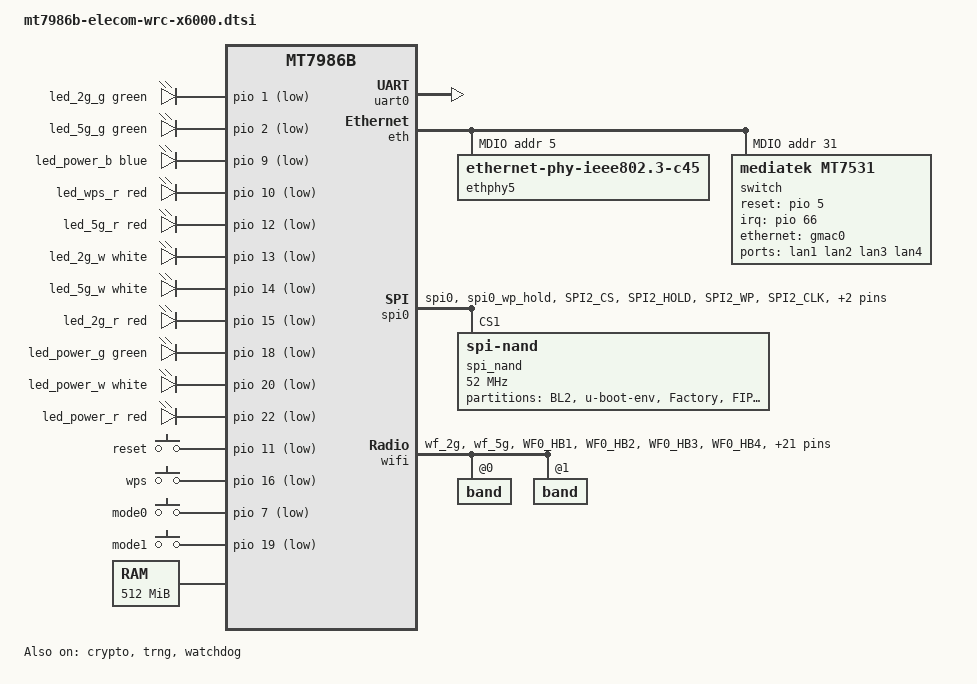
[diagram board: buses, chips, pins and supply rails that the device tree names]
// SPDX-License-Identifier: GPL-2.0-or-later OR MIT

/dts-v1/;

#include <dt-bindings/input/input.h>
#include <dt-bindings/gpio/gpio.h>
#include <dt-bindings/leds/common.h>
#include <dt-bindings/pinctrl/mt65xx.h>

#include "mt7986b.dtsi"

/ {
	aliases {
		serial0 = &uart0;

		label-mac-device = &gmac0;
		led-boot = &led_power_g;
		led-failsafe = &led_power_r;
		led-running = &led_power_g;
		led-upgrade = &led_power_w;
	};

	chosen: chosen {
		stdout-path = "serial0:115200n8";
	};

	leds {
		compatible = "gpio-leds";

		// 2GHz green
		led_2g_g: led-0 {
			function = LED_FUNCTION_WLAN_2GHZ;
			color = <LED_COLOR_ID_GREEN>;
			gpios = <&pio 1 GPIO_ACTIVE_LOW>;
		};

		// 5GHz green
		led_5g_g: led-1 {
			function = LED_FUNCTION_WLAN_5GHZ;
			color = <LED_COLOR_ID_GREEN>;
			gpios = <&pio 2 GPIO_ACTIVE_LOW>;
		};

		// power blue
		led_power_b: led-2 {
			function = LED_FUNCTION_POWER;
			color = <LED_COLOR_ID_BLUE>;
			gpios = <&pio 9 GPIO_ACTIVE_LOW>;
		};

		// wps red
		led_wps_r: led-3 {
			function = LED_FUNCTION_WPS;
			color = <LED_COLOR_ID_RED>;
			gpios = <&pio 10 GPIO_ACTIVE_LOW>;
			default-state = "off";
		};

		// 5GHz red
		led_5g_r: led-4 {
			function = LED_FUNCTION_WLAN_5GHZ;
			color = <LED_COLOR_ID_RED>;
			gpios = <&pio 12 GPIO_ACTIVE_LOW>;
		};

		// 2GHz white
		led_2g_w: led-5 {
			function = LED_FUNCTION_WLAN_2GHZ;
			color = <LED_COLOR_ID_WHITE>;
			gpios = <&pio 13 GPIO_ACTIVE_LOW>;
			linux,default-trigger = "phy0tpt";
		};

		// 5GHz white
		led_5g_w: led-6 {
			function = LED_FUNCTION_WLAN_5GHZ;
			color = <LED_COLOR_ID_WHITE>;
			gpios = <&pio 14 GPIO_ACTIVE_LOW>;
			linux,default-trigger = "phy1tpt";
		};

		// 2GHz red
		led_2g_r: led-7 {
			function = LED_FUNCTION_WLAN_2GHZ;
			color = <LED_COLOR_ID_RED>;
			gpios = <&pio 15 GPIO_ACTIVE_LOW>;
		};

		// power green
		led_power_g: led-8 {
			function = LED_FUNCTION_POWER;
			color = <LED_COLOR_ID_GREEN>;
			gpios = <&pio 18 GPIO_ACTIVE_LOW>;
		};

		// power white
		led_power_w: led-9 {
			function = LED_FUNCTION_POWER;
			color = <LED_COLOR_ID_WHITE>;
			gpios = <&pio 20 GPIO_ACTIVE_LOW>;
		};

		// power red
		led_power_r: led-10 {
			function = LED_FUNCTION_POWER;
			color = <LED_COLOR_ID_RED>;
			gpios = <&pio 22 GPIO_ACTIVE_LOW>;
		};
	};

	keys {
		compatible = "gpio-keys";

		button-reset {
			label = "reset";
			gpios = <&pio 11 GPIO_ACTIVE_LOW>;
			linux,code = <KEY_RESTART>;
		};

		button-wps {
			label = "wps";
			gpios = <&pio 16 GPIO_ACTIVE_LOW>;
			linux,code = <KEY_WPS_BUTTON>;
		};

		/*
		 * mode0 mode1: (Switch Position)
		 *   1     0  : Router
		 *   1     1  : AP
		 *   0     0  : Repeater (Normal)
		 *   0     1  : Repeater (Hanareya (en: Outbuilding))
		 */
		switch-mode0 {
			label = "mode0";
			gpios = <&pio 7 GPIO_ACTIVE_LOW>;
			linux,code = <BTN_0>;
			linux,input-type = <EV_SW>;
		};

		switch-mode1 {
			label = "mode1";
			gpios = <&pio 19 GPIO_ACTIVE_LOW>;
			linux,code = <BTN_1>;
			linux,input-type = <EV_SW>;
		};
	};

	memory@40000000 {
		device_type = "memory";
		reg = <0 0x40000000 0 0x20000000>;
	};
};

&crypto {
	status = "okay";
};

&trng {
	status = "okay";
};

&uart0 {
	status = "okay";
};

&watchdog {
	status = "okay";
};

&pio {
	spi_flash_pins: spi-flash-pins-33-to-38 {
		mux {
			function = "spi";
			groups = "spi0", "spi0_wp_hold";
		};

		conf-pu {
			pins = "SPI2_CS", "SPI2_HOLD", "SPI2_WP";
			drive-strength = <MTK_DRIVE_8mA>;
			bias-disable;
		};

		conf-pd {
			pins = "SPI2_CLK", "SPI2_MOSI", "SPI2_MISO";
			drive-strength = <MTK_DRIVE_8mA>;
			bias-disable;
		};
	};

	wf_2g_5g_pins: wf-2g-5g-pins {
		mux {
			function = "wifi";
			groups = "wf_2g", "wf_5g";
		};

		conf {
			pins = "WF0_HB1", "WF0_HB2", "WF0_HB3", "WF0_HB4",
				"WF0_HB0", "WF0_HB0_B", "WF0_HB5", "WF0_HB6",
				"WF0_HB7", "WF0_HB8", "WF0_HB9", "WF0_HB10",
				"WF0_TOP_CLK", "WF0_TOP_DATA", "WF1_HB1",
				"WF1_HB2", "WF1_HB3", "WF1_HB4", "WF1_HB0",
				"WF1_HB5", "WF1_HB6", "WF1_HB7", "WF1_HB8",
				"WF1_TOP_CLK", "WF1_TOP_DATA";
			drive-strength = <MTK_DRIVE_4mA>;
		};
	};
};

&eth {
	status = "okay";

	gmac0: mac@0 {
		/* towards internal switch port */
		compatible = "mediatek,eth-mac";
		reg = <0>;
		phy-mode = "2500base-x";

		nvmem-cells = <&macaddr_factory_2a 0>;
		nvmem-cell-names = "mac-address";

		fixed-link {
			speed = <2500>;
			full-duplex;
			pause;
		};
	};

	gmac1: mac@1 {
		/* toward wan port */
		status = "okay";
		compatible = "mediatek,eth-mac";
		reg = <1>;
		phy-mode = "2500base-x";
		phy-handle = <&ethphy5>;
		openwrt,netdev-name = "wan";

		nvmem-cells = <&macaddr_factory_24 0>;
		nvmem-cell-names = "mac-address";
	};

	mdio-bus {
		#address-cells = <1>;
		#size-cells = <0>;

		reset-gpios = <&pio 6 GPIO_ACTIVE_LOW>;
		reset-delay-us = <100000>;
		reset-post-delay-us = <100000>;

		/* WAN MaxLinear GPY211C 2.5Gbps phy */
		ethphy5: ethernet-phy@5 {
			compatible = "ethernet-phy-ieee802.3-c45";
			reg = <5>;
			max-speed = <2500>;

			leds {
				#address-cells = <1>;
				#size-cells = <0>;

				led@0 {
					reg = <0>;
					color = <LED_COLOR_ID_WHITE>;
					function = LED_FUNCTION_WAN;
				};
			};
		};

		switch@1f {
			compatible = "mediatek,mt7531";
			reg = <31>;
			reset-gpios = <&pio 5 GPIO_ACTIVE_HIGH>;

			interrupt-controller;
			#interrupt-cells = <1>;
			interrupt-parent = <&pio>;
			interrupts = <66 IRQ_TYPE_LEVEL_HIGH>;

			ports {
				#address-cells = <1>;
				#size-cells = <0>;

				port@0 {
					reg = <0>;
					label = "lan1";
				};

				port@1 {
					reg = <1>;
					label = "lan2";
				};

				port@2 {
					reg = <2>;
					label = "lan3";
				};

				port@3 {
					reg = <3>;
					label = "lan4";
				};

				/* CPU port */
				port@6 {
					reg = <6>;
					ethernet = <&gmac0>;
					phy-mode = "2500base-x";
					fixed-link {
						speed = <2500>;
						full-duplex;
						pause;
					};
				};
			};
		};
	};
};

&spi0 {
	status = "okay";

	pinctrl-names = "default";
	pinctrl-0 = <&spi_flash_pins>;
	num-cs = <2>;
	cs-gpios = <0>, <0>;

	spi_nand: flash@1 {
		compatible = "spi-nand";
		reg = <1>;

		spi-max-frequency = <52000000>;
		spi-tx-bus-width = <4>;
		spi-rx-bus-width = <4>;

		partitions: partitions {
			compatible = "fixed-partitions";
			#address-cells = <1>;
			#size-cells = <1>;

			partition@0 {
				label = "BL2";
				reg = <0x00 0x100000>;
				read-only;
			};

			partition@100000 {
				label = "u-boot-env";
				reg = <0x100000 0x80000>;
			};

			partition@180000 {
				label = "Factory";
				reg = <0x180000 0x200000>;
				read-only;

				nvmem-layout {
					compatible = "fixed-layout";
					#address-cells = <1>;
					#size-cells = <1>;

					eeprom_factory_0: eeprom@0 {
						reg = <0x0 0x1000>;
					};

					macaddr_factory_4: mac-address@4 {
						compatible = "mac-base";
						reg = <0x4 0x6>;
						#nvmem-cell-cells = <1>;
					};

					macaddr_factory_a: mac-address@a {
						compatible = "mac-base";
						reg = <0xa 0x6>;
						#nvmem-cell-cells = <1>;
					};

					macaddr_factory_24: mac-address@24 {
						compatible = "mac-base";
						reg = <0x24 0x6>;
						#nvmem-cell-cells = <1>;
					};

					macaddr_factory_2a: mac-address@2a {
						compatible = "mac-base";
						reg = <0x2a 0x6>;
						#nvmem-cell-cells = <1>;
					};
				};
			};

			partition@380000 {
				label = "FIP";
				reg = <0x380000 0x200000>;
				read-only;
			};

			partition@580000 {
				label = "Fwheader";
				reg = <0x580000 0x20000>;
				read-only;
			};

			partition@5a0000 {
				compatible = "mstc,boot";
				label = "firmware1";
				reg = <0x5a0000 0x3200000>;
				mstc,bootnum = <1>;
				mstc,persist = <&mtd_persist>;
				#address-cells = <1>;
				#size-cells = <1>;

				partition@0 {
					label-base = "ubi";
					reg = <0x0 0x3200000>;
				};
			};

			partition@37a0000 {
				label = "Config";
				reg = <0x37a0000 0x380000>;
				read-only;
			};

			partition@3b20000 {
				label = "Fwheader_2";
				reg = <0x3b20000 0x20000>;
				read-only;
			};

			partition@3b40000 {
				compatible = "mstc,boot";
				label = "firmware2";
				reg = <0x3b40000 0x3200000>;
				mstc,bootnum = <2>;
				mstc,persist = <&mtd_persist>;
				#address-cells = <1>;
				#size-cells = <1>;

				partition@0 {
					label-base = "ubi";
					reg = <0x0 0x3200000>;
				};
			};

			partition@6d40000 {
				label = "Config_2";
				reg = <0x6d40000 0x380000>;
				read-only;
			};

			mtd_persist: partition@70c0000 {
				label = "persist";
				reg = <0x70c0000 0x100000>;
			};

			partition@71c0000 {
				label = "Mrd";
				reg = <0x71c0000 0x40000>;
				read-only;
			};

			partition@7200000 {
				label = "Backup";
				reg = <0x7200000 0x380000>;
				read-only;
			};
		};
	};
};

&wifi {
	status = "okay";

	#address-cells = <1>;
	#size-cells = <0>;

	pinctrl-names = "default";
	pinctrl-0 = <&wf_2g_5g_pins>;

	nvmem-cells = <&eeprom_factory_0>;
	nvmem-cell-names = "eeprom";

	band@0 {
		reg = <0>;
		nvmem-cells = <&macaddr_factory_4 0>;
		nvmem-cell-names = "mac-address";
	};

	band@1 {
		reg = <1>;
		nvmem-cells = <&macaddr_factory_a 0>;
		nvmem-cell-names = "mac-address";
	};
};
